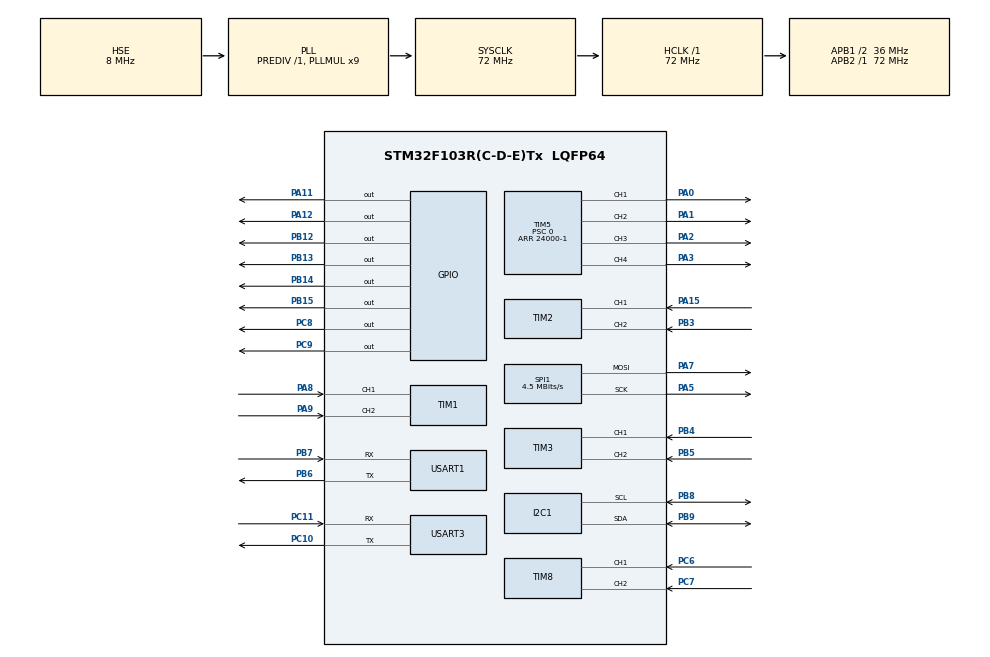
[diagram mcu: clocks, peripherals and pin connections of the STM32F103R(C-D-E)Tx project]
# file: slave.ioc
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Dma.Request0=USART1_RX
Dma.Request1=SPI1_TX
Dma.SPI1_TX.1.Direction=DMA_MEMORY_TO_PERIPH
Dma.SPI1_TX.1.Instance=DMA1_Channel3
Dma.SPI1_TX.1.MemDataAlignment=DMA_MDATAALIGN_BYTE
Dma.SPI1_TX.1.MemInc=DMA_MINC_ENABLE
Dma.SPI1_TX.1.Mode=DMA_NORMAL
Dma.SPI1_TX.1.PeriphDataAlignment=DMA_PDATAALIGN_BYTE
Dma.SPI1_TX.1.PeriphInc=DMA_PINC_DISABLE
Dma.SPI1_TX.1.Priority=DMA_PRIORITY_VERY_HIGH
Dma.USART1_RX.0.Direction=DMA_PERIPH_TO_MEMORY
Dma.USART1_RX.0.Instance=DMA1_Channel5
Dma.USART1_RX.0.MemDataAlignment=DMA_MDATAALIGN_BYTE
Dma.USART1_RX.0.MemInc=DMA_MINC_ENABLE
Dma.USART1_RX.0.Mode=DMA_NORMAL
Dma.USART1_RX.0.PeriphDataAlignment=DMA_PDATAALIGN_BYTE
Dma.USART1_RX.0.PeriphInc=DMA_PINC_DISABLE
Dma.USART1_RX.0.Priority=DMA_PRIORITY_HIGH
I2C1.I2C_Mode=I2C_Fast
Mcu.Family=STM32F1
Mcu.Name=STM32F103R(C-D-E)Tx
Mcu.Package=LQFP64
NVIC.DMA1_Channel3_IRQn=true\:0\:0\:false\:false\:true\:false\:true\:true
NVIC.DMA1_Channel5_IRQn=true\:0\:0\:false\:false\:true\:false\:true\:true
NVIC.PriorityGroup=NVIC_PRIORITYGROUP_4
NVIC.TIM6_IRQn=true\:1\:0\:true\:false\:true\:true\:true\:true
NVIC.USART1_IRQn=true\:0\:0\:false\:false\:true\:true\:true\:true
NVIC.USART3_IRQn=true\:1\:0\:true\:false\:true\:true\:true\:true
PA0-WKUP.Signal=S_TIM5_CH1
PA1.Signal=S_TIM5_CH2
PA11.Signal=GPIO_Output
PA12.Signal=GPIO_Output
PA13.Mode=Serial_Wire
PA13.Signal=SYS_JTMS-SWDIO
PA14.Mode=Serial_Wire
PA14.Signal=SYS_JTCK-SWCLK
PA15.Signal=S_TIM2_CH1_ETR
PA2.Signal=S_TIM5_CH3
PA3.Signal=S_TIM5_CH4
PA5.Mode=TX_Only_Simplex_Unidirect_Master
PA5.Signal=SPI1_SCK
PA7.Mode=TX_Only_Simplex_Unidirect_Master
PA7.Signal=SPI1_MOSI
PA8.Signal=S_TIM1_CH1
PA9.Signal=S_TIM1_CH2
PB12.Signal=GPIO_Output
PB13.Signal=GPIO_Output
PB14.Signal=GPIO_Output
PB15.Signal=GPIO_Output
PB3.Signal=S_TIM2_CH2
PB4.Signal=S_TIM3_CH1
PB5.Signal=S_TIM3_CH2
PB6.Mode=Asynchronous
PB6.Signal=USART1_TX
PB7.Mode=Asynchronous
PB7.Signal=USART1_RX
PB8.Mode=I2C
PB8.Signal=I2C1_SCL
PB9.Mode=I2C
PB9.Signal=I2C1_SDA
PC10.Mode=Asynchronous
PC10.Signal=USART3_TX
PC11.Mode=Asynchronous
PC11.Signal=USART3_RX
PC6.Signal=S_TIM8_CH1
PC7.Signal=S_TIM8_CH2
PC8.Signal=GPIO_Output
PC9.Signal=GPIO_Output
PD0-OSC_IN.Mode=HSE-External-Oscillator
PD0-OSC_IN.Signal=RCC_OSC_IN
PD1-OSC_OUT.Mode=HSE-External-Oscillator
PD1-OSC_OUT.Signal=RCC_OSC_OUT
ProjectManager.HeapSize=0x200
ProjectManager.StackSize=0x400
ProjectManager.TargetToolchain=MDK-ARM V5.32
RCC.AHBFreq_Value=72000000
RCC.APB1CLKDivider=RCC_HCLK_DIV2
RCC.APB1Freq_Value=36000000
RCC.APB1TimFreq_Value=72000000
RCC.APB2Freq_Value=72000000
RCC.APB2TimFreq_Value=72000000
RCC.HCLKFreq_Value=72000000
RCC.PLLMUL=RCC_PLL_MUL9
RCC.PLLSourceVirtual=RCC_PLLSOURCE_HSE
RCC.SYSCLKFreq_VALUE=72000000
RCC.SYSCLKSource=RCC_SYSCLKSOURCE_PLLCLK
RCC.USBFreq_Value=72000000
SH.S_TIM1_CH1.0=TIM1_CH1,Encoder_Interface
SH.S_TIM1_CH2.0=TIM1_CH2,Encoder_Interface
SH.S_TIM2_CH1_ETR.0=TIM2_CH1,Encoder_Interface
SH.S_TIM2_CH2.0=TIM2_CH2,Encoder_Interface
SH.S_TIM3_CH1.0=TIM3_CH1,Encoder_Interface
SH.S_TIM3_CH2.0=TIM3_CH2,Encoder_Interface
SH.S_TIM5_CH1.0=TIM5_CH1,PWM Generation1 CH1
SH.S_TIM5_CH2.0=TIM5_CH2,PWM Generation2 CH2
SH.S_TIM5_CH3.0=TIM5_CH3,PWM Generation3 CH3
SH.S_TIM5_CH4.0=TIM5_CH4,PWM Generation4 CH4
SH.S_TIM8_CH1.0=TIM8_CH1,Encoder_Interface
SH.S_TIM8_CH2.0=TIM8_CH2,Encoder_Interface
SPI1.BaudRatePrescaler=SPI_BAUDRATEPRESCALER_16
SPI1.CLKPhase=SPI_PHASE_2EDGE
SPI1.CalculateBaudRate=4.5 MBits/s
SPI1.Direction=SPI_DIRECTION_2LINES
SPI1.Mode=SPI_MODE_MASTER
SPI1.VirtualType=VM_MASTER
TIM1.AutoReloadPreload=TIM_AUTORELOAD_PRELOAD_ENABLE
TIM1.EncoderMode=TIM_ENCODERMODE_TI12
TIM1.IC1Filter=10
TIM1.IC2Filter=10
TIM1.IC2Polarity=TIM_ICPOLARITY_FALLING
TIM2.AutoReloadPreload=TIM_AUTORELOAD_PRELOAD_ENABLE
TIM2.EncoderMode=TIM_ENCODERMODE_TI12
TIM2.IC1Filter=10
TIM2.IC2Filter=10
TIM3.AutoReloadPreload=TIM_AUTORELOAD_PRELOAD_ENABLE
TIM3.EncoderMode=TIM_ENCODERMODE_TI12
TIM3.IC1Filter=10
TIM3.IC2Filter=10
TIM3.IC2Polarity=TIM_ICPOLARITY_FALLING
TIM5.AutoReloadPreload=TIM_AUTORELOAD_PRELOAD_ENABLE
TIM5.Channel-PWM\ Generation1\ CH1=TIM_CHANNEL_1
TIM5.Channel-PWM\ Generation2\ CH2=TIM_CHANNEL_2
TIM5.Channel-PWM\ Generation3\ CH3=TIM_CHANNEL_3
TIM5.Channel-PWM\ Generation4\ CH4=TIM_CHANNEL_4
TIM5.Period=24000-1
TIM5.Prescaler=0
TIM6.AutoReloadPreload=TIM_AUTORELOAD_PRELOAD_ENABLE
TIM6.Period=1000-1
TIM6.Prescaler=720-1
TIM8.AutoReloadPreload=TIM_AUTORELOAD_PRELOAD_ENABLE
TIM8.EncoderMode=TIM_ENCODERMODE_TI12
TIM8.IC1Filter=10
TIM8.IC2Filter=10
USART1.VirtualMode=VM_ASYNC
USART3.VirtualMode=VM_ASYNC
VP_TIM5_VS_ClockSourceINT.Mode=Internal
VP_TIM6_VS_ClockSourceINT.Mode=Enable_Timer
board=custom

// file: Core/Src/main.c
/* USER CODE BEGIN Header */
/**
  ******************************************************************************
  * @file           : main.c
  * @brief          : Main program body
  ******************************************************************************
  * @attention
  *
  * Copyright (c) 2025 STMicroelectronics.
  * All rights reserved.
  *
  * This software is licensed under terms that can be found in the LICENSE file
  * in the root directory of this software component.
  * If no LICENSE file comes with this software, it is provided AS-IS.
  *
  ******************************************************************************
  */
/* USER CODE END Header */
#include "main.h"
#include "dma.h"
#include "i2c.h"
#include "spi.h"
#include "tim.h"
#include "usart.h"
#include "gpio.h"

/* USER CODE BEGIN Includes */
#include "stdio.h"
#include "stdarg.h"
#include "string.h"
#include "stdlib.h"
#include "math.h"
#include "PID.h"
#include "motor.h"
#include "ws2812.h"
#include "inv_mpu.h"
#include "inv_mpu_dmp_motion_driver.h"
#include "mpu6050.h"

/* USER CODE END Includes */

void SystemClock_Config(void);
/* USER CODE BEGIN PFP */
uint8_t Rx_Buffer1[BUF_SIZE];
uint8_t Rx_Buffer3[BUF_SIZE];

float clk_s = 0.0f, clk_bias = 0.0f;
int CNT[4] = {0};
int I_CNT[4] = {0};
float _I_CNT = 0.0f;
float pitch = 0.0f, roll = 0.0f, yaw = 0.0f;
float yaw_bias = 0.0f;

float Locationset_X = 0.0f, Locationset_Y = 0.0f, Yawset = 0.0f;
float Carspeedset_X = 0.0f, Carspeedset_Y = 0.0f, Carspeedset_Z = 0.0f;
float Wheelspeed[4] = {0.0f};
float Pwmset[4] = {0.0f};

int mpu_flag = 1, loc_flag = 0;
int PIDmode_flag = 0, Lightmode_flag = 0;
int light8_num = 0;

/*%%%%%%%%%%%%%%%%%%%%*/
int receive_value(uint8_t *Rxdata, const char *title, float *data)
{	//数据接收
	float out_int = 0.0f, out_float = 0.0f;
	const char *value = strstr((const char*)Rxdata, title);
	if(value != NULL) {
		value += strlen(title);
		int sign = 1;
		if(*value == '-') {
			sign = -1;
			value++;
		}
		while (*value >= '0' && *value <= '9') {
			out_int = out_int * 10 + (*value - '0');
			value++;
		}
		if (*value == '.') {
			value++;
			float factor = 0.1f;
			while (*value >= '0' && *value <= '9') {
				out_float += (*value - '0') * factor;
				factor *= 0.1f;
				value++;
			}
		}
		*data = sign * (out_int + out_float);
		return 1;
	}
	return 0;
}

/* USER CODE END PFP */

/* USER CODE BEGIN 0 */
void HAL_UARTEx_RxEventCallback(UART_HandleTypeDef *huart, uint16_t Size)
{
	if(huart->Instance == USART1)
    {
		if(receive_value(Rx_Buffer1, "wake_angle=", &Yawset)) {			//语音唤醒
			Yawset -= wake_bias;
			if(Yawset < 0.0f) Yawset += 360.0f;
			else if(Yawset > 360.0f) Yawset -= 360.0f;
			if(Yawset > 180.0f) Yawset -= 360.0f;
			Locationset_X = 0.0f;
			Locationset_Y = 0.0f;
			mpu_flag = 1;
			loc_flag = 1;
			PIDmode_flag = 1;
			Lightmode_flag = 9;
		} else if(receive_value(Rx_Buffer1, "speed=", &Carspeedset_Y)){	//目标跟随和APP遥控
			receive_value(Rx_Buffer1, "rotate=", &Carspeedset_Z);
			const char *trip = strstr((const char*)Rx_Buffer1, "trip");
			if(trip != NULL)	Lightmode_flag = 8;	//若摔倒
			else				Lightmode_flag = 7;
			if(!receive_value(Rx_Buffer1, "cross=", &Carspeedset_X)) {	//遥控才有corss
				Carspeedset_X = 0.0f;
				Lightmode_flag = 2;
			}
			Carspeedset_X *= 100;
			Carspeedset_Y *= 100;
			Carspeedset_Z *= 400;
			PIDmode_flag = 2;
		} else {														//语音和手势控制
			const char *order = strstr((const char*)Rx_Buffer1, "order=");
			if(order != NULL) {
				switch(order[6]) {
					case '1':
						Locationset_X = 0.0f;
						Locationset_Y = 40.0f;
						Yawset = 0.0f;
						Lightmode_flag = 5;
						break;
					case '2':
						Locationset_X = 0.0f;
						Locationset_Y = -40.0f;
						Yawset = 0.0f;
						Lightmode_flag = 6;
						break;
					case '3':
						Locationset_X = -40.0f;
						Locationset_Y = 0.0f;
						Yawset = 0.0f;
						Lightmode_flag = 3;
						break;
					case '4':
						Locationset_X = 40.0f;
						Locationset_Y = 0.0f;
						Yawset = 0.0f;
						Lightmode_flag = 4;
						break;
					case '5':
						Locationset_X = 0.0f;
						Locationset_Y = 0.0f;
						Yawset = 90.0f;
						Lightmode_flag = 3;
						break;
					case '6':
						Locationset_X = 0.0f;
						Locationset_Y = 0.0f;
						Yawset = -90.0f;
						Lightmode_flag = 4;
						break;
					default:
						break;
				}
				mpu_flag = 1;
				loc_flag = 1;
				PIDmode_flag = 1;
			}
		}

		memset(Rx_Buffer1, 0, BUF_SIZE);
		HAL_UARTEx_ReceiveToIdle_DMA(&huart1, Rx_Buffer1, BUF_SIZE);
		__HAL_DMA_DISABLE_IT(&hdma_usart1_rx, DMA_IT_HT);
	}
	else if(huart->Instance == USART3)
    {

		memset(Rx_Buffer3, 0, BUF_SIZE);
		HAL_UARTEx_ReceiveToIdle_IT(&huart3, Rx_Buffer3, BUF_SIZE);
	}
}
/*%%%%%%%%%%%%%%%%%%%%*/
void HAL_TIM_PeriodElapsedCallback(TIM_HandleTypeDef *htim)
{
	if (htim->Instance == TIM6)
	{
		clk_s += 0.01f;
		/*****读编码器*****/
		CNT[0] = (int)__HAL_TIM_GET_COUNTER(&htim1);
		__HAL_TIM_SET_COUNTER(&htim1, 0);
		CNT[1] = (int)__HAL_TIM_GET_COUNTER(&htim2);
		__HAL_TIM_SET_COUNTER(&htim2, 0);
		CNT[2] = (int)__HAL_TIM_GET_COUNTER(&htim3);
		__HAL_TIM_SET_COUNTER(&htim3, 0);
		CNT[3] = (int)__HAL_TIM_GET_COUNTER(&htim8);
		__HAL_TIM_SET_COUNTER(&htim8, 0);
		for(int i=0; i<4; i++) {
			if(CNT[i] > 32768) {CNT[i] -= 65536;}
			I_CNT[i] += CNT[i];
		}
		if(loc_flag) {
			for(int i=0; i<4; i++) I_CNT[i] = 0;
			loc_flag = 0;
		}

		/*****读MPU6050*****/
		mpu_dmp_get_data(&pitch, &roll, &yaw);
		if(mpu_flag) {
			clk_bias = clk_s;
			yaw_bias = yaw;
			mpu_flag = 0;
		}
		yaw = yaw - yaw_bias - yaw_k*(clk_s-clk_bias);	//消零漂
		if(yaw < 0.0f) {
			yaw += 360.0f;
		} else if(yaw > 360.0f) {
			yaw -= 360.0f;
		}
		if(yaw > 180.0f) yaw -= 360.0f;	//区间转换

		/*****PWM_out*****/
		if(PIDmode_flag == 1) {
			PID_mode1(Locationset_X, Locationset_Y, Yawset, yaw, I_CNT, Wheelspeed, CNT, Pwmset);
			set_PWM((int)Pwmset[0], (int)Pwmset[1], (int)Pwmset[2], (int)Pwmset[3]);
		} else if(PIDmode_flag == 2) {
			PID_mode2(Carspeedset_X, Carspeedset_Y, Carspeedset_Z, Wheelspeed, CNT, Pwmset);
			set_PWM((int)Pwmset[0], (int)Pwmset[1], (int)Pwmset[2], (int)Pwmset[3]);
		}
	}
}

/* USER CODE END 0 */

int main(void)
{

	/* MCU Configuration--------------------------------------------------------*/

	/* Reset of all peripherals, Initializes the Flash interface and the Systick. */
	HAL_Init();

	/* Configure the system clock */
	SystemClock_Config();

	/* Initialize all configured peripherals */
	MX_GPIO_Init();
	MX_DMA_Init();
	MX_TIM1_Init();
	MX_TIM2_Init();
	MX_TIM3_Init();
	MX_TIM5_Init();
	MX_TIM6_Init();
	MX_TIM8_Init();
	MX_USART1_UART_Init();
	MX_I2C1_Init();
	MX_USART3_UART_Init();
	MX_SPI1_Init();
	/* USER CODE BEGIN 2 */
	HAL_TIM_Base_Start(&htim5);
	HAL_TIM_PWM_Start(&htim5, TIM_CHANNEL_1);
	HAL_TIM_PWM_Start(&htim5, TIM_CHANNEL_2);
	HAL_TIM_PWM_Start(&htim5, TIM_CHANNEL_3);
	HAL_TIM_PWM_Start(&htim5, TIM_CHANNEL_4);

	HAL_TIM_Encoder_Start(&htim1, TIM_CHANNEL_1|TIM_CHANNEL_2);
	HAL_TIM_Encoder_Start(&htim2, TIM_CHANNEL_1|TIM_CHANNEL_2);
	HAL_TIM_Encoder_Start(&htim3, TIM_CHANNEL_1|TIM_CHANNEL_2);
	HAL_TIM_Encoder_Start(&htim8, TIM_CHANNEL_1|TIM_CHANNEL_2);

	HAL_UARTEx_ReceiveToIdle_DMA(&huart1, Rx_Buffer1, BUF_SIZE);
	__HAL_DMA_DISABLE_IT(&hdma_usart1_rx,DMA_IT_HT);
	HAL_UARTEx_ReceiveToIdle_IT(&huart3, Rx_Buffer3, BUF_SIZE);

	while(MPU_Init()){
	}
	//printf("MPU_Init finished!\n");
	while(mpu_dmp_init()){
	}
	//printf("mpu_dmp_init finished!\n");
	HAL_Delay(200);

	HAL_TIM_Base_Start_IT(&htim6);
	/* USER CODE END 2 */

	/* Infinite loop */
	/* USER CODE BEGIN WHILE */
	while (1)
	{
		switch(Lightmode_flag) {
			case 1:	//渐变纯色
			  RGBset_mode1(clk_s);
			  break;
			case 2:	//渐变流水
			  RGBset_mode2(clk_s);
			  break;
			case 3:	//左转向灯
			  RGBset_mode3(0x80, 0x80, 0x00, clk_s);
			  break;
			case 4:	//右转向灯
			  RGBset_mode4(0x80, 0x80, 0x00, clk_s);
			  break;
			case 5:	//前进指示灯
			  RGBset_mode5(0x80, 0x80, 0x00, clk_s);
			  break;
			case 6:	//后退指示灯
			  RGBset_mode6(0x80, 0x80, 0x00, clk_s);
			  break;
			case 7:	//模拟眼睛（跟随）
			  RGBset_mode7(0x00, 0x00, 0x80, Yawset, clk_s);
			  break;
			case 8:	//摔倒警示灯
			  RGBset_mode8(clk_s);
			  light8_num ++;
			  if(light8_num >50) {
				  Lightmode_flag = 7;
				  light8_num = 0;
			  }
			  break;
			case 9:	//模拟眼睛（直视）
			  RGBset_mode7(0x00, 0x00, 0x80, 0, clk_s);
			  break;
			default:
			  break;
		}
		HAL_Delay(10);
	/* USER CODE END WHILE */

	}
}

void SystemClock_Config(void)
{
	RCC_OscInitTypeDef RCC_OscInitStruct = {0};
	RCC_ClkInitTypeDef RCC_ClkInitStruct = {0};

	/** Initializes the RCC Oscillators according to the specified parameters
	* in the RCC_OscInitTypeDef structure.
	*/
	RCC_OscInitStruct.OscillatorType = RCC_OSCILLATORTYPE_HSE;
	RCC_OscInitStruct.HSEState = RCC_HSE_ON;
	RCC_OscInitStruct.HSEPredivValue = RCC_HSE_PREDIV_DIV1;
	RCC_OscInitStruct.HSIState = RCC_HSI_ON;
	RCC_OscInitStruct.PLL.PLLState = RCC_PLL_ON;
	RCC_OscInitStruct.PLL.PLLSource = RCC_PLLSOURCE_HSE;
	RCC_OscInitStruct.PLL.PLLMUL = RCC_PLL_MUL9;
	if (HAL_RCC_OscConfig(&RCC_OscInitStruct) != HAL_OK)
	{
		Error_Handler();
	}

	/** Initializes the CPU, AHB and APB buses clocks
	*/
	RCC_ClkInitStruct.ClockType = RCC_CLOCKTYPE_HCLK|RCC_CLOCKTYPE_SYSCLK
							  |RCC_CLOCKTYPE_PCLK1|RCC_CLOCKTYPE_PCLK2;
	RCC_ClkInitStruct.SYSCLKSource = RCC_SYSCLKSOURCE_PLLCLK;
	RCC_ClkInitStruct.AHBCLKDivider = RCC_SYSCLK_DIV1;
	RCC_ClkInitStruct.APB1CLKDivider = RCC_HCLK_DIV2;
	RCC_ClkInitStruct.APB2CLKDivider = RCC_HCLK_DIV1;

	if (HAL_RCC_ClockConfig(&RCC_ClkInitStruct, FLASH_LATENCY_2) != HAL_OK)
	{
		Error_Handler();
	}
}

void Error_Handler(void)
{
	/* USER CODE BEGIN Error_Handler_Debug */
	/* User can add his own implementation to report the HAL error return state */
	__disable_irq();
	while (1)
	{
		printf("Error!!!\n");
		HAL_Delay(500);
	}
	/* USER CODE END Error_Handler_Debug */
}
